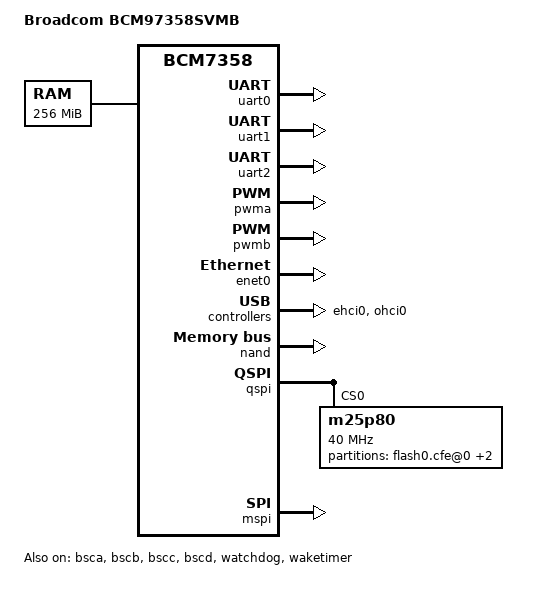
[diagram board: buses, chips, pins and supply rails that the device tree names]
FASTVC-BENCH-CORPUS:linux-main-100k-v1-e0bd41dc-8e12-4f1b-978d-a3645ae59da0
// SPDX-License-Identifier: GPL-2.0
/dts-v1/;

/include/ "bcm7358.dtsi"
/include/ "bcm97xxx-nand-cs1-bch4.dtsi"

/ {
	compatible = "brcm,bcm97358svmb", "brcm,bcm7358";
	model = "Broadcom BCM97358SVMB";

	memory@0 {
		device_type = "memory";
		reg = <0x00000000 0x10000000>;
	};

	chosen {
		bootargs = "console=ttyS0,115200";
		stdout-path = &uart0;
	};
};

&uart0 {
	status = "okay";
};

&uart1 {
	status = "okay";
};

&uart2 {
	status = "okay";
};

&bsca {
	status = "okay";
};

&bscb {
	status = "okay";
};

&bscc {
	status = "okay";
};

&bscd {
	status = "okay";
};

&pwma {
	status = "okay";
};

&pwmb {
	status = "okay";
};

&watchdog {
	status = "okay";
};

&enet0 {
	status = "okay";
};

&ehci0 {
	status = "okay";
};

&ohci0 {
	status = "okay";
};

&nand {
	status = "okay";
};

&qspi {
	status = "okay";

	m25p80@0 {
		compatible = "m25p80";
		reg = <0>;
		spi-max-frequency = <40000000>;
		spi-cpol;
		spi-cpha;
/* bench 5458.1.0 754dc84df5b0 */
/* bench 5458.1.1 c973fbf0a24f */
/* bench 5458.1.2 ef1b86d03a83 */
/* bench 5458.1.3 11331503c2e3 */
/* bench 5458.1.4 37b16b5b7241 */
/* bench 5458.1.5 ebb75bf403af */
/* bench 5458.1.6 c2edfaf23558 */
/* bench 5458.1.7 7989039f760c */
/* bench 5458.1.8 9fab1b1f1f9e */
/* bench 5458.1.9 2554ad86dbd6 */
/* bench 5458.1.10 9f923be29db6 */
		use-bspi;
		m25p,fast-read;

		partitions {
			compatible = "fixed-partitions";
			#address-cells = <1>;
			#size-cells = <1>;

			flash0.cfe@0 {
				reg = <0x0 0x200000>;
			};

			flash0.mac@200000 {
				reg = <0x200000 0x40000>;
			};

			flash0.nvram@240000 {
				reg = <0x240000 0x10000>;
			};
		};
	};
};

&mspi {
	status = "okay";
};

&waketimer {
	status = "okay";
};
